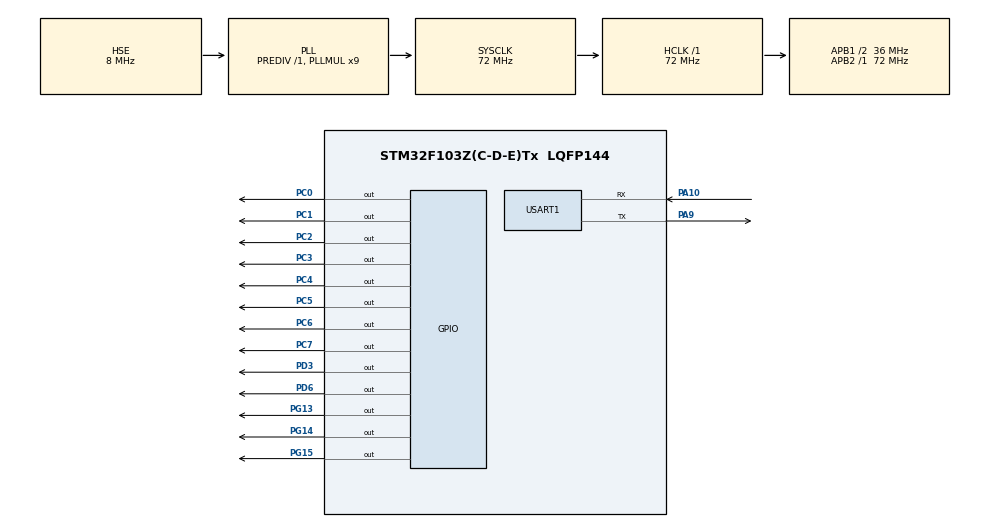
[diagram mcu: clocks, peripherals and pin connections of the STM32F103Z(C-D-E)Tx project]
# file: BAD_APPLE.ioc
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Dma.Request0=USART1_RX
Dma.USART1_RX.0.Direction=DMA_PERIPH_TO_MEMORY
Dma.USART1_RX.0.Instance=DMA1_Channel5
Dma.USART1_RX.0.MemDataAlignment=DMA_MDATAALIGN_BYTE
Dma.USART1_RX.0.MemInc=DMA_MINC_ENABLE
Dma.USART1_RX.0.Mode=DMA_CIRCULAR
Dma.USART1_RX.0.PeriphDataAlignment=DMA_PDATAALIGN_BYTE
Dma.USART1_RX.0.PeriphInc=DMA_PINC_DISABLE
Dma.USART1_RX.0.Priority=DMA_PRIORITY_LOW
Mcu.Family=STM32F1
Mcu.Name=STM32F103Z(C-D-E)Tx
Mcu.Package=LQFP144
NVIC.DMA1_Channel5_IRQn=true\:0\:0\:false\:false\:true\:false\:true\:true
NVIC.PriorityGroup=NVIC_PRIORITYGROUP_4
NVIC.USART1_IRQn=true\:0\:0\:false\:false\:true\:true\:true\:true
OSC_IN.Mode=HSE-External-Oscillator
OSC_IN.Signal=RCC_OSC_IN
OSC_OUT.Mode=HSE-External-Oscillator
OSC_OUT.Signal=RCC_OSC_OUT
PA10.Mode=Asynchronous
PA10.Signal=USART1_RX
PA13.Mode=Serial_Wire
PA13.Signal=SYS_JTMS-SWDIO
PA14.Mode=Serial_Wire
PA14.Signal=SYS_JTCK-SWCLK
PA9.Mode=Asynchronous
PA9.Signal=USART1_TX
PC0.GPIO_ModeDefaultOutputPP=GPIO_MODE_OUTPUT_PP
PC0.GPIO_PuPd=GPIO_PULLUP
PC0.GPIO_Speed=GPIO_SPEED_FREQ_HIGH
PC0.Signal=GPIO_Output
PC1.GPIO_PuPd=GPIO_PULLUP
PC1.GPIO_Speed=GPIO_SPEED_FREQ_HIGH
PC1.Signal=GPIO_Output
PC2.GPIO_PuPd=GPIO_PULLUP
PC2.GPIO_Speed=GPIO_SPEED_FREQ_HIGH
PC2.Signal=GPIO_Output
PC3.GPIO_PuPd=GPIO_PULLUP
PC3.GPIO_Speed=GPIO_SPEED_FREQ_HIGH
PC3.Signal=GPIO_Output
PC4.GPIO_PuPd=GPIO_PULLUP
PC4.GPIO_Speed=GPIO_SPEED_FREQ_HIGH
PC4.Signal=GPIO_Output
PC5.GPIO_PuPd=GPIO_PULLUP
PC5.GPIO_Speed=GPIO_SPEED_FREQ_HIGH
PC5.Signal=GPIO_Output
PC6.GPIO_PuPd=GPIO_PULLUP
PC6.GPIO_Speed=GPIO_SPEED_FREQ_HIGH
PC6.Signal=GPIO_Output
PC7.GPIO_PuPd=GPIO_PULLUP
PC7.GPIO_Speed=GPIO_SPEED_FREQ_HIGH
PC7.Signal=GPIO_Output
PD3.GPIO_PuPd=GPIO_PULLUP
PD3.GPIO_Speed=GPIO_SPEED_FREQ_HIGH
PD3.PinState=GPIO_PIN_SET
PD3.Signal=GPIO_Output
PD6.GPIO_PuPd=GPIO_PULLUP
PD6.GPIO_Speed=GPIO_SPEED_FREQ_HIGH
PD6.PinState=GPIO_PIN_SET
PD6.Signal=GPIO_Output
PG13.GPIO_PuPd=GPIO_PULLUP
PG13.GPIO_Speed=GPIO_SPEED_FREQ_HIGH
PG13.PinState=GPIO_PIN_SET
PG13.Signal=GPIO_Output
PG14.GPIO_PuPd=GPIO_PULLUP
PG14.GPIO_Speed=GPIO_SPEED_FREQ_HIGH
PG14.PinState=GPIO_PIN_SET
PG14.Signal=GPIO_Output
PG15.GPIO_PuPd=GPIO_PULLUP
PG15.GPIO_Speed=GPIO_SPEED_FREQ_HIGH
PG15.Signal=GPIO_Output
ProjectManager.HeapSize=0x200
ProjectManager.StackSize=0x400
ProjectManager.TargetToolchain=MDK-ARM V5
RCC.AHBFreq_Value=72000000
RCC.APB1CLKDivider=RCC_HCLK_DIV2
RCC.APB1Freq_Value=36000000
RCC.APB1TimFreq_Value=72000000
RCC.APB2Freq_Value=72000000
RCC.APB2TimFreq_Value=72000000
RCC.HCLKFreq_Value=72000000
RCC.PLLMUL=RCC_PLL_MUL9
RCC.PLLSourceVirtual=RCC_PLLSOURCE_HSE
RCC.SYSCLKFreq_VALUE=72000000
RCC.SYSCLKSource=RCC_SYSCLKSOURCE_PLLCLK
RCC.USBFreq_Value=72000000
USART1.VirtualMode=VM_ASYNC
board=custom

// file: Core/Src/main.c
/* USER CODE BEGIN Header */
/**
  ******************************************************************************
  * @file           : main.c
  * @brief          : Main program body
  ******************************************************************************
  * @attention
  *
  * Copyright (c) 2022 STMicroelectronics.
  * All rights reserved.
  *
  * This software is licensed under terms that can be found in the LICENSE file
  * in the root directory of this software component.
  * If no LICENSE file comes with this software, it is provided AS-IS.
  *
  ******************************************************************************
  */
/* USER CODE END Header */
#include "main.h"
#include "dma.h"
#include "usart.h"
#include "gpio.h"

/* USER CODE BEGIN Includes */
#include "delay.h"
#include "oled.h"
/* USER CODE END Includes */

/* USER CODE BEGIN PD */
#define BUF_SIZE (85*8)
/* USER CODE END PD */

/* USER CODE BEGIN PV */
uint8_t rxbuf[BUF_SIZE]= {0};
uint32_t num;
/* USER CODE END PV */

void SystemClock_Config(void);

int main(void)
{

  /* MCU Configuration--------------------------------------------------------*/

  /* Reset of all peripherals, Initializes the Flash interface and the Systick. */
  HAL_Init();

  /* Configure the system clock */
  SystemClock_Config();

  /* Initialize all configured peripherals */
  MX_GPIO_Init();
  MX_DMA_Init();
  MX_USART1_UART_Init();
  /* USER CODE BEGIN 2 */
	delay_init(72);
	OLED_Init();
	OLED_ShowString(0,0,(uint8_t *)"DimMoon5",24);
	OLED_Refresh_Gram();
	delay_ms(5000);
	OLED_Clear();
	HAL_UART_Receive_DMA(&huart1, rxbuf, BUF_SIZE);
  /* USER CODE END 2 */

  /* Infinite loop */
  while (1)
  {
  }
}

void SystemClock_Config(void)
{
  RCC_OscInitTypeDef RCC_OscInitStruct = {0};
  RCC_ClkInitTypeDef RCC_ClkInitStruct = {0};

  /** Initializes the RCC Oscillators according to the specified parameters
  * in the RCC_OscInitTypeDef structure.
  */
  RCC_OscInitStruct.OscillatorType = RCC_OSCILLATORTYPE_HSE;
  RCC_OscInitStruct.HSEState = RCC_HSE_ON;
  RCC_OscInitStruct.HSEPredivValue = RCC_HSE_PREDIV_DIV1;
  RCC_OscInitStruct.HSIState = RCC_HSI_ON;
  RCC_OscInitStruct.PLL.PLLState = RCC_PLL_ON;
  RCC_OscInitStruct.PLL.PLLSource = RCC_PLLSOURCE_HSE;
  RCC_OscInitStruct.PLL.PLLMUL = RCC_PLL_MUL9;
  if (HAL_RCC_OscConfig(&RCC_OscInitStruct) != HAL_OK)
  {
    Error_Handler();
  }

  /** Initializes the CPU, AHB and APB buses clocks
  */
  RCC_ClkInitStruct.ClockType = RCC_CLOCKTYPE_HCLK|RCC_CLOCKTYPE_SYSCLK
                              |RCC_CLOCKTYPE_PCLK1|RCC_CLOCKTYPE_PCLK2;
  RCC_ClkInitStruct.SYSCLKSource = RCC_SYSCLKSOURCE_PLLCLK;
  RCC_ClkInitStruct.AHBCLKDivider = RCC_SYSCLK_DIV1;
  RCC_ClkInitStruct.APB1CLKDivider = RCC_HCLK_DIV2;
  RCC_ClkInitStruct.APB2CLKDivider = RCC_HCLK_DIV1;

  if (HAL_RCC_ClockConfig(&RCC_ClkInitStruct, FLASH_LATENCY_2) != HAL_OK)
  {
    Error_Handler();
  }
}

/* USER CODE BEGIN 4 */
void HAL_UART_RxCpltCallback(UART_HandleTypeDef *huart) {
	OLED_ShowPicture(21, 0, 105, 63, rxbuf, 1);
//	OLED_ShowNum(0, 40, num%100, 2, 24);
//	num++;
//	OLED_Refresh_Gram();
	OLED_Refresh_Block(21, 0, 105, 63);

	uint8_t ch='1';
	HAL_UART_Transmit(huart, (uint8_t *)&ch, 1, 0xFFFF);
//    HAL_UART_Receive_DMA(huart,rxbuf,BUF_SIZE);
}
/* USER CODE END 4 */

void Error_Handler(void)
{
  __disable_irq();
  while (1)
  {
  }
}
